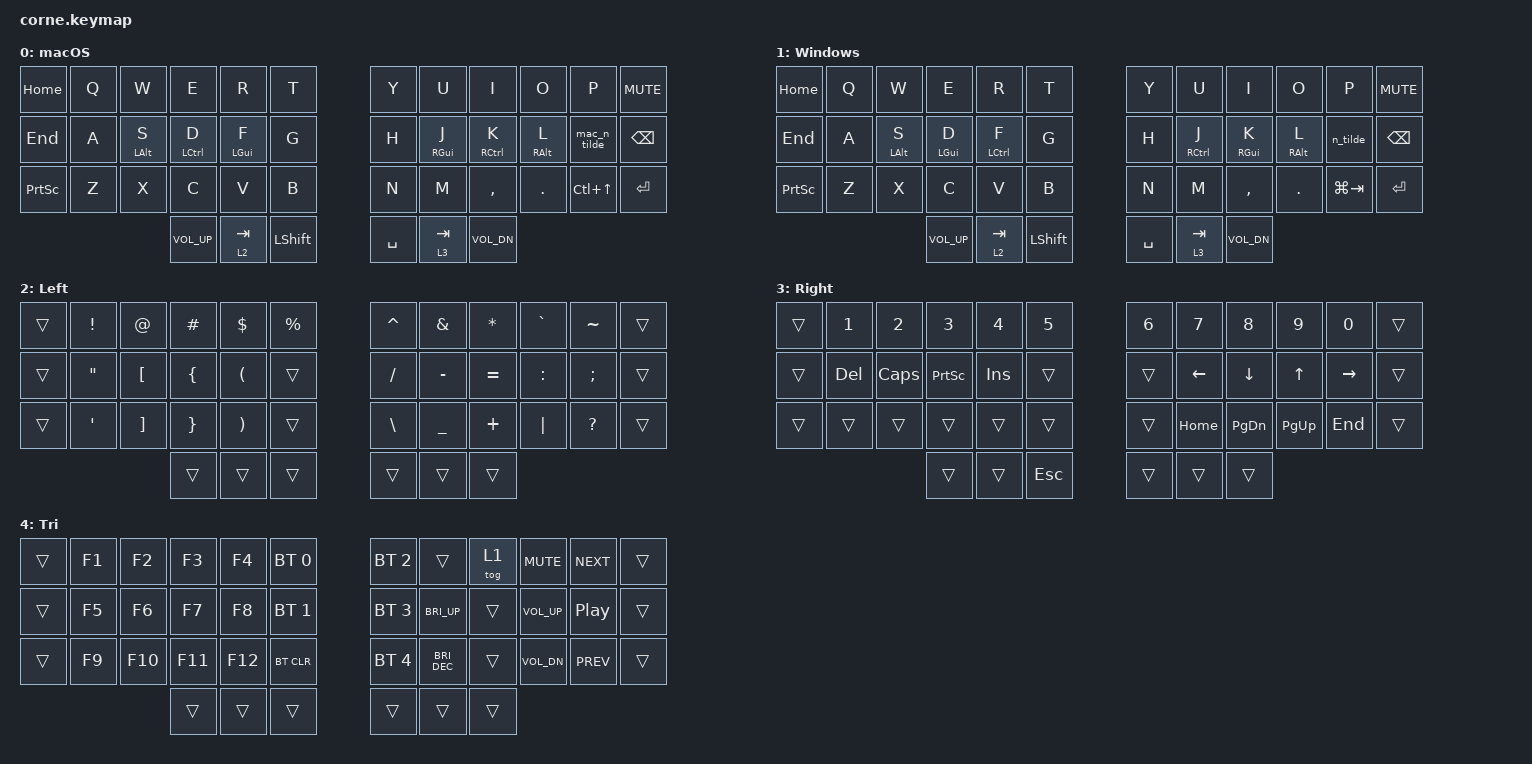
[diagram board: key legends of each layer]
// Copyright (c) 2022 The ZMK Contributors
// SPDX-License-Identifier: MIT

#include <behaviors.dtsi>
#include <dt-bindings/zmk/keys.h>
#include <dt-bindings/zmk/bt.h>

#include "../zmk-nodefree-config/helper.h"

ZMK_UNICODE_PAIR(n_tilde,   N0, N0, F, N1,   N0, N0, D, N1)

/ {

    macros {
        mac_n_tilde_min: mac_n_tilde_min {
            compatible = "zmk,behavior-macro";
            #binding-cells = <0>;
            bindings = <&macro_tap &kp LC(SPACE)> 
                , <&macro_press &kp LALT>
                , <&macro_tap &kp N0 &kp N0 &kp F &kp N1>
                , <&macro_release &kp LALT>
                , <&macro_tap &kp LC(SPACE)>;

            label = "MAC_N_TILDE_MIN";
        };

        mac_n_tilde_may: mac_n_tilde_may {
            compatible = "zmk,behavior-macro";
            #binding-cells = <0>;
            bindings = <&macro_tap &kp LC(SPACE)> 
                , <&macro_press &kp LALT>
                , <&macro_tap &kp N0 &kp N0 &kp D &kp N1>
                , <&macro_release &kp LALT>
                , <&macro_tap &kp LC(SPACE)>;

            label = "MAC_N_TILDE_MAY";
        };


        n_tilde_may: n_tilde_may {
            compatible = "zmk,behavior-macro";
            #binding-cells = <0>;
            bindings = <&macro_press &kp LALT>
                , <&macro_tap &kp N1 &kp N6 &kp N5>
                , <&macro_release &kp LALT>;

            label = "N_TILDE_MAY";
        };

        n_tilde_min: n_tilde_min {
            compatible = "zmk,behavior-macro";
            #binding-cells = <0>;
            bindings = <&macro_press &kp LALT>
                , <&macro_tap &kp N1 &kp N6 &kp N4>
                , <&macro_release &kp LALT>;

            label = "N_TILDE_MIN";
        };
    };

    behaviors {
        n_tilde: n_tilde {
            compatible = "zmk,behavior-mod-morph";
            label = "N_TILDE";
            bindings = <&n_tilde_min>, <&n_tilde_may>;

            #binding-cells = <0>;
            mods = <(MOD_RSFT|MOD_LSFT)>;
        };

        mac_n_tilde: mac_n_tilde {
            compatible = "zmk,behavior-mod-morph";
            label = "MAC_N_TILDE";
            bindings = <&mac_n_tilde_min>, <&mac_n_tilde_may>;

            #binding-cells = <0>;
            mods = <(MOD_RSFT|MOD_LSFT)>;
        };
    };

    keymap {
        compatible = "zmk,keymap";

        default_layer {
            bindings = <
&kp HOME   &kp Q  &kp W       &kp E         &kp R       &kp T         &kp Y      &kp U            &kp I                &kp O       &kp P         &kp C_MUTE
&kp END    &kp A  &mt LALT S  &mt LCTRL D   &mt LGUI F  &kp G         &kp H      &mt RIGHT_GUI J  &mt RIGHT_CONTROL K  &mt RALT L  &mac_n_tilde  &kp BACKSPACE
&kp PSCRN  &kp Z  &kp X       &kp C         &kp V       &kp B         &kp N      &kp M            &kp COMMA            &kp DOT     &kp LC(UP)    &kp ENTER
                              &kp C_VOL_UP  &lt 2 TAB   &kp LSHIFT    &kp SPACE  &lt 3 TAB        &kp C_VOL_DN
            >;

            label = "macOS";
        };

        windows_layer {
            bindings = <
&kp HOME   &kp Q  &kp W       &kp E         &kp R        &kp T         &kp Y      &kp U                &kp I            &kp O       &kp P        &kp C_MUTE
&kp END    &kp A  &mt LALT S  &mt LGUI D    &mt LCTRL F  &kp G         &kp H      &mt RIGHT_CONTROL J  &mt RIGHT_GUI K  &mt RALT L  &n_tilde     &kp BACKSPACE
&kp PSCRN  &kp Z  &kp X       &kp C         &kp V        &kp B         &kp N      &kp M                &kp COMMA        &kp DOT     &kp LG(TAB)  &kp ENTER
                              &kp C_VOL_UP  &lt 2 TAB    &kp LSHIFT    &kp SPACE  &lt 3 TAB            &kp C_VOL_DN
            >;

            label = "Windows";
        };

        left_layer {
            bindings = <
&trans  &kp EXCL           &kp AT    &kp HASH  &kp DOLLAR  &kp PERCENT    &kp CARET      &kp AMPERSAND  &kp ASTERISK  &kp GRAVE  &kp TILDE  &trans
&trans  &kp DOUBLE_QUOTES  &kp LBKT  &kp LBRC  &kp LPAR    &trans         &kp SLASH      &kp MINUS      &kp EQUAL     &kp COLON  &kp SEMI   &trans
&trans  &kp SINGLE_QUOTE   &kp RBKT  &kp RBRC  &kp RPAR    &trans         &kp BACKSLASH  &kp UNDER      &kp PLUS      &kp PIPE   &kp QMARK  &trans
                                     &trans    &trans      &trans         &trans         &trans         &trans
            >;

            label = "Left";
        };

        right_layer {
            bindings = <
&trans  &kp N1   &kp N2    &kp N3     &kp N4   &kp N5     &kp N6  &kp N7    &kp N8     &kp N9     &kp N0     &trans
&trans  &kp DEL  &kp CAPS  &kp PSCRN  &kp INS  &trans     &trans  &kp LEFT  &kp DOWN   &kp UP     &kp RIGHT  &trans
&trans  &trans   &trans    &trans     &trans   &trans     &trans  &kp HOME  &kp PG_DN  &kp PG_UP  &kp END    &trans
                           &trans     &trans   &kp ESC    &trans  &trans    &trans
            >;

            label = "Right";
        };

        tri_layer {
            bindings = <
&trans  &kp F1  &kp F2   &kp F3   &kp F4   &bt BT_SEL 0    &bt BT_SEL 2  &trans         &tog 1  &kp C_MUTE    &kp C_NEXT  &trans
&trans  &kp F5  &kp F6   &kp F7   &kp F8   &bt BT_SEL 1    &bt BT_SEL 3  &kp C_BRI_UP   &trans  &kp C_VOL_UP  &kp C_PP    &trans
&trans  &kp F9  &kp F10  &kp F11  &kp F12  &bt BT_CLR      &bt BT_SEL 4  &kp C_BRI_DEC  &trans  &kp C_VOL_DN  &kp C_PREV  &trans
                         &trans   &trans   &trans          &trans        &trans         &trans
            >;

            label = "Tri";
        };
    };

    conditional_layers {
        compatible = "zmk,conditional-layers";

        tri_layer {
            if-layers = <2 3>;
            then-layer = <4>;
        };
    };
};
